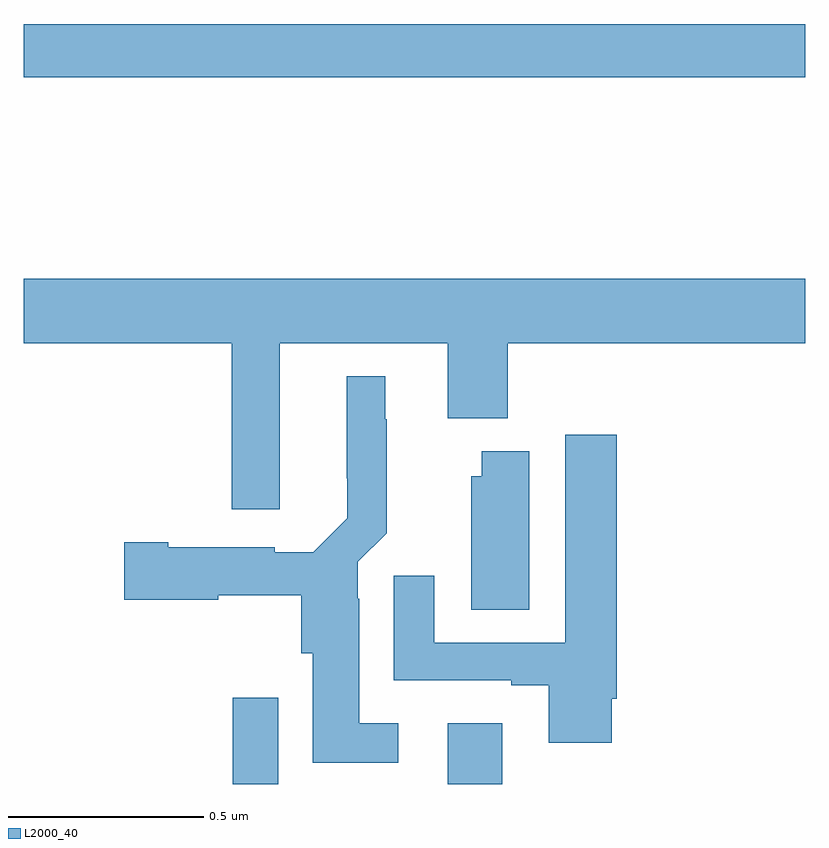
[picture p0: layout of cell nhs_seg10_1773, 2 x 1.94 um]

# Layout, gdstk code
import gdstk
lib = gdstk.Library(unit=1e-6, precision=1e-09)
def R(c, l, rs):  # rectangles x0, y0, x1, y1
    for r in rs: c.add(gdstk.rectangle(r[:2], r[2:], *l))
def P(c, l, *ps):  # polygons
    for p in ps: c.add(gdstk.Polygon(p, *l))
L2000_40 = (2000, 40)

nhs_seg10_1773 = lib.new_cell('nhs_seg10_1773')
R(nhs_seg10_1773, L2000_40, [(132.535,1320.5,132.651,1320.721), (133.085,1320.5,133.225,1320.655), (132,1322.308,134,1322.444)])
P(nhs_seg10_1773, L2000_40, [(132.655,1321.628),(133.085,1321.628),(133.085,1321.436),(133.238,1321.436),(133.238,1321.628),(134,1321.628),(134,1321.792),(132,1321.792),(132,1321.628),(132.533,1321.628),(132.533,1321.203),(132.655,1321.203)],
  [(132.958,1320.655),(132.859,1320.655),(132.859,1320.974),(132.855,1320.974),(132.855,1321.068),(132.929,1321.142),(132.929,1321.433),(132.925,1321.433),(132.925,1321.543),(132.827,1321.543),(132.827,1321.282),(132.828,1321.282),(132.828,1321.18),(132.741,1321.093),(132.642,1321.093),(132.642,1321.105),(132.37,1321.105),(132.37,1321.118),(132.258,1321.118),(132.258,1320.971),(132.498,1320.971),(132.498,1320.983),(132.71,1320.983),(132.71,1320.834),(132.74,1320.834),(132.74,1320.554),(132.958,1320.554)],
  [(133.504,1320.718),(133.517,1320.718),(133.517,1321.393),(133.385,1321.393),(133.385,1320.861),(133.051,1320.861),(133.051,1321.033),(132.947,1321.033),(132.947,1320.765),(133.247,1320.765),(133.247,1320.753),(133.343,1320.753),(133.343,1320.606),(133.504,1320.606)],
  [(133.294,1321.351),(133.172,1321.351),(133.172,1321.287),(133.145,1321.287),(133.145,1320.946),(133.294,1320.946)])

lib.write_gds('nhs_seg10_1773.gds')
